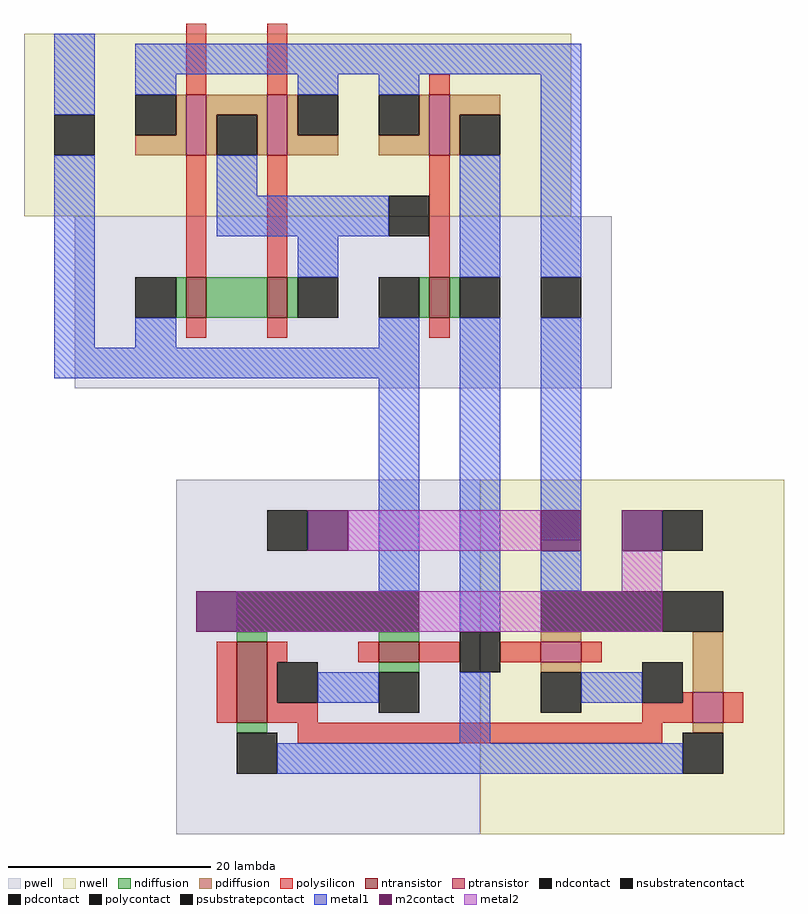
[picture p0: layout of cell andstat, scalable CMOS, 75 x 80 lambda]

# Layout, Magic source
magic
tech scmos
<< metal1 >>
rect 23 15 27 31
rect 31 11 35 33
rect 39 15 43 28
<< m2contact >>
rect 5 6 9 10
<< metal2 >>
rect 9 6 27 10
use and  and_0
transform 1 0 -65 0 1 37
box 53 -9 111 29
use stat  stat_0
transform 1 0 6 0 -1 14
box -3 -7 57 28
<< end >>

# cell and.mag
magic
tech scmos
<< nwell >>
rect 53 10 107 28
<< pwell >>
rect 58 -7 111 10
<< ntransistor >>
rect 69 0 71 4
rect 77 0 79 4
rect 93 0 95 4
<< ptransistor >>
rect 69 16 71 22
rect 77 16 79 22
rect 93 16 95 22
<< ndiffusion >>
rect 68 0 69 4
rect 71 0 77 4
rect 79 0 80 4
rect 92 0 93 4
rect 95 0 96 4
<< pdiffusion >>
rect 68 18 69 22
rect 64 16 69 18
rect 71 20 77 22
rect 71 16 72 20
rect 76 16 77 20
rect 79 18 80 22
rect 79 16 84 18
rect 92 18 93 22
rect 88 16 93 18
rect 95 20 100 22
rect 95 16 96 20
<< ndcontact >>
rect 64 0 68 4
rect 80 0 84 4
rect 88 0 92 4
rect 96 0 100 4
<< pdcontact >>
rect 64 18 68 22
rect 72 16 76 20
rect 80 18 84 22
rect 88 18 92 22
rect 96 16 100 20
<< psubstratepcontact >>
rect 104 0 108 4
<< nsubstratencontact >>
rect 56 16 60 20
<< polysilicon >>
rect 69 22 71 29
rect 77 22 79 29
rect 93 22 95 24
rect 69 4 71 16
rect 77 4 79 16
rect 93 4 95 16
rect 69 -2 71 0
rect 77 -2 79 0
rect 93 -2 95 0
<< polycontact >>
rect 89 8 93 12
<< metal1 >>
rect 56 20 60 28
rect 64 24 108 27
rect 64 22 68 24
rect 80 22 84 24
rect 56 -3 60 16
rect 88 22 92 24
rect 72 12 76 16
rect 72 8 89 12
rect 80 4 84 8
rect 96 4 100 16
rect 64 -3 68 0
rect 88 -3 92 0
rect 56 -6 92 -3
rect 96 -4 100 0
rect 104 4 108 24
rect 104 -9 108 0
<< labels >>
rlabel polysilicon 70 28 70 28 5 in1
rlabel polysilicon 78 28 78 28 5 in2
rlabel metal1 58 -4 58 -4 2 GND!
rlabel metal1 106 25 106 25 6 Vdd!
<< end >>

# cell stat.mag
magic
tech scmos
<< nwell >>
rect 27 -7 57 28
<< pwell >>
rect -3 -7 27 28
<< ntransistor >>
rect 3 9 6 17
rect 17 9 21 11
<< ptransistor >>
rect 48 14 51 17
rect 33 9 37 11
<< ndiffusion >>
rect 3 17 6 18
rect 17 11 21 12
rect 3 8 6 9
rect 17 8 21 9
<< pdiffusion >>
rect 48 17 51 18
rect 33 11 37 12
rect 33 8 37 9
rect 48 8 51 14
<< ndcontact >>
rect 3 18 7 22
rect 17 12 21 16
rect 3 4 21 8
<< pdcontact >>
rect 47 18 51 22
rect 33 12 37 16
rect 33 4 51 8
<< psubstratepcontact >>
rect 6 -4 10 0
<< nsubstratencontact >>
rect 45 -4 49 0
<< polysilicon >>
rect 9 17 45 19
rect 1 9 3 17
rect 6 15 11 17
rect 6 11 7 15
rect 6 9 8 11
rect 15 9 17 11
rect 21 9 25 11
rect 43 15 48 17
rect 47 14 48 15
rect 51 14 53 17
rect 29 9 33 11
rect 37 9 39 11
<< polycontact >>
rect 7 11 11 15
rect 25 8 29 12
rect 43 11 47 15
<< metal1 >>
rect 7 19 47 22
rect 11 12 17 15
rect 25 12 28 19
rect 37 12 43 15
rect 17 -1 21 4
rect 25 3 29 8
rect 33 0 37 4
<< m2contact >>
rect 10 -4 14 0
rect 33 -4 37 0
rect 41 -4 45 0
<< metal2 >>
rect 21 4 45 8
rect 41 0 45 4
rect 14 -4 33 0
<< labels >>
rlabel ndcontact 12 6 12 6 1 GND!
rlabel pdcontact 42 6 42 6 1 Vdd!
<< end >>
